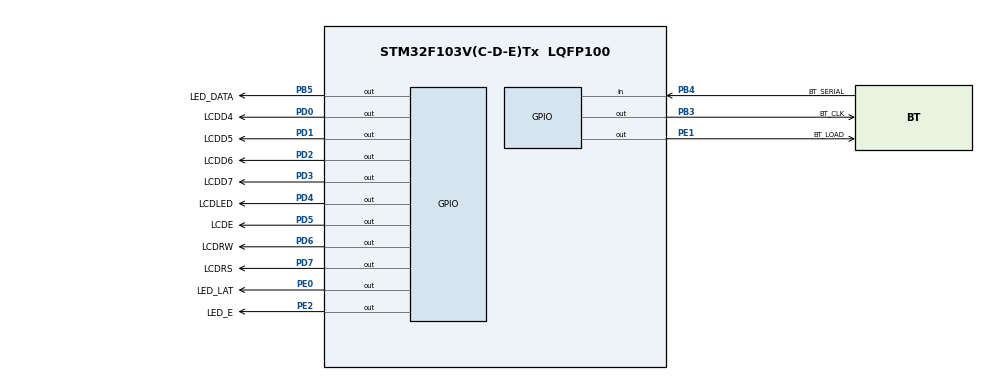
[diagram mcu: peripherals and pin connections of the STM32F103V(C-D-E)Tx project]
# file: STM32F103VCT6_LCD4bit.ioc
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Mcu.Family=STM32F1
Mcu.Name=STM32F103V(C-D-E)Tx
Mcu.Package=LQFP100
NVIC.PriorityGroup=NVIC_PRIORITYGROUP_4
PA13.Mode=Serial_Wire
PA13.Signal=SYS_JTMS-SWDIO
PA14.Mode=Serial_Wire
PA14.Signal=SYS_JTCK-SWCLK
PB3.GPIO_Label=BT_CLK
PB3.Signal=GPIO_Output
PB4.GPIO_Label=BT_SERIAL
PB4.Signal=GPIO_Input
PB5.GPIO_Label=LED_DATA
PB5.Signal=GPIO_Output
PD0.GPIO_Label=LCDD4
PD0.Signal=GPIO_Output
PD1.GPIO_Label=LCDD5
PD1.Signal=GPIO_Output
PD2.GPIO_Label=LCDD6
PD2.Signal=GPIO_Output
PD3.GPIO_Label=LCDD7
PD3.Signal=GPIO_Output
PD4.GPIO_Label=LCDLED
PD4.Signal=GPIO_Output
PD5.GPIO_Label=LCDE
PD5.Signal=GPIO_Output
PD6.GPIO_Label=LCDRW
PD6.Signal=GPIO_Output
PD7.GPIO_Label=LCDRS
PD7.Signal=GPIO_Output
PE0.GPIO_Label=LED_LAT
PE0.Signal=GPIO_Output
PE1.GPIO_Label=BT_LOAD
PE1.Signal=GPIO_Output
PE2.GPIO_Label=LED_E
PE2.Signal=GPIO_Output
ProjectManager.HeapSize=0x200
ProjectManager.StackSize=0x400
ProjectManager.TargetToolchain=MDK-ARM V5.32
RCC.APB1Freq_Value=8000000
RCC.APB2Freq_Value=8000000
board=custom

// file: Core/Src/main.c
/* USER CODE BEGIN Header */
/**
  ******************************************************************************
  * @file           : main.c
  * @brief          : Main program body
  ******************************************************************************
  * @attention
  *
  * Copyright (c) 2023 STMicroelectronics.
  * All rights reserved.
  *
  * This software is licensed under terms that can be found in the LICENSE file
  * in the root directory of this software component.
  * If no LICENSE file comes with this software, it is provided AS-IS.
  *
  ******************************************************************************
  */
#define LCD_DISPLAY_BLINK   0x0F
/* USER CODE END Header */
#include "main.h"

/* USER CODE BEGIN Includes */
#include "lcd.h"
/* USER CODE END Includes */

void SystemClock_Config(void);
static void MX_GPIO_Init(void);

/* USER CODE BEGIN 0 */
void LED_Clk(uint8_t n) {
	while(n>0) {
		HAL_GPIO_WritePin(BT_CLK_GPIO_Port,BT_CLK_Pin,GPIO_PIN_SET);
		HAL_GPIO_WritePin(BT_CLK_GPIO_Port,BT_CLK_Pin,GPIO_PIN_RESET);
		n = n-1;
	}
}
/* USER CODE END 0 */

int main(void)
{

  /* MCU Configuration--------------------------------------------------------*/

  /* Reset of all peripherals, Initializes the Flash interface and the Systick. */
  HAL_Init();

  /* Configure the system clock */
  SystemClock_Config();

  /* Initialize all configured peripherals */
  MX_GPIO_Init();
  /* USER CODE BEGIN 2 */

	LCD_init();
// Display on/off control D=1 C=1 B=1
//  0 0 0 0 1 D=1 C=1 B=1
	LCD_cmd(LCD_DISPLAY_BLINK);

	HAL_GPIO_WritePin(LCDLED_GPIO_Port,LCDLED_Pin,GPIO_PIN_SET);

	HAL_GPIO_WritePin(BT_LOAD_GPIO_Port,BT_LOAD_Pin,GPIO_PIN_SET);
	HAL_GPIO_WritePin(BT_CLK_GPIO_Port,BT_CLK_Pin,GPIO_PIN_SET);
	HAL_GPIO_WritePin(LED_E_GPIO_Port,LED_E_Pin,GPIO_PIN_RESET);
  uint8_t BT_Data=0;
  /* USER CODE END 2 */

  /* Infinite loop */
  /* USER CODE BEGIN WHILE */
	HAL_GPIO_WritePin(LED_LAT_GPIO_Port,LED_LAT_Pin,GPIO_PIN_RESET);
	HAL_GPIO_WritePin(BT_CLK_GPIO_Port,BT_CLK_Pin,GPIO_PIN_RESET);
		//LCD_cmd(0x80);
		//LCD_print((uint8_t *)"Hello world");
		//     C G B DP D E A F
		// 0 = 1 0 1 0  1 1 1 1
		// 1 = 1 0 1 0  0 0 0 0
		// 2 = 0 1 1 0  1 1 1 0
		const uint8_t LEDCODE[]={0xAF, 0xA0, 0x6E, 0xEA, 0xE1, 0xCB, 0xCF, 0xA2, 0xEF, 0xEB };
uint8_t donvi=0;
uint8_t chuc =9;

		HAL_GPIO_WritePin(LED_DATA_GPIO_Port,LED_DATA_Pin,GPIO_PIN_SET);
			LED_Clk(1);
			HAL_GPIO_WritePin(LED_DATA_GPIO_Port,LED_DATA_Pin,GPIO_PIN_RESET);
			LED_Clk(7);
			//donvi=j%10;
			for (uint8_t i=0;i<8;i++) {
				HAL_GPIO_WritePin(LED_DATA_GPIO_Port,LED_DATA_Pin,(LEDCODE[8]&(0x80>>i)));
				HAL_GPIO_WritePin(BT_CLK_GPIO_Port,BT_CLK_Pin,GPIO_PIN_SET);
				HAL_GPIO_WritePin(BT_CLK_GPIO_Port,BT_CLK_Pin,GPIO_PIN_RESET);
			}
			HAL_GPIO_WritePin(LED_LAT_GPIO_Port,LED_LAT_Pin,GPIO_PIN_SET);
			HAL_GPIO_WritePin(LED_LAT_GPIO_Port,LED_LAT_Pin,GPIO_PIN_RESET);
		/*
while(1) {
for (uint8_t j=0;j<100;j++) {
		for (uint32_t k=0;k<200;k++) {
			HAL_GPIO_WritePin(LED_DATA_GPIO_Port,LED_DATA_Pin,GPIO_PIN_SET);
			LED_Clk(1);
			HAL_GPIO_WritePin(LED_DATA_GPIO_Port,LED_DATA_Pin,GPIO_PIN_RESET);
			LED_Clk(7);
			donvi=j%10;
			for (uint8_t i=0;i<8;i++) {
				HAL_GPIO_WritePin(LED_DATA_GPIO_Port,LED_DATA_Pin,(LEDCODE[donvi]&(0x80>>i)));
				HAL_GPIO_WritePin(BT_CLK_GPIO_Port,BT_CLK_Pin,GPIO_PIN_SET);
				HAL_GPIO_WritePin(BT_CLK_GPIO_Port,BT_CLK_Pin,GPIO_PIN_RESET);
			}
			HAL_GPIO_WritePin(LED_LAT_GPIO_Port,LED_LAT_Pin,GPIO_PIN_SET);
			HAL_GPIO_WritePin(LED_LAT_GPIO_Port,LED_LAT_Pin,GPIO_PIN_RESET);
			HAL_Delay(1);

			HAL_GPIO_WritePin(LED_DATA_GPIO_Port,LED_DATA_Pin,GPIO_PIN_RESET);
			LED_Clk(1);
			HAL_GPIO_WritePin(LED_DATA_GPIO_Port,LED_DATA_Pin,GPIO_PIN_SET);
			LED_Clk(1);
			HAL_GPIO_WritePin(LED_DATA_GPIO_Port,LED_DATA_Pin,GPIO_PIN_RESET);
			LED_Clk(6);
			chuc=j/10;
			for (uint8_t i=0;i<8;i++) {
				HAL_GPIO_WritePin(LED_DATA_GPIO_Port,LED_DATA_Pin,(LEDCODE[chuc]&(0x80>>i)));
				HAL_GPIO_WritePin(BT_CLK_GPIO_Port,BT_CLK_Pin,GPIO_PIN_SET);
				HAL_GPIO_WritePin(BT_CLK_GPIO_Port,BT_CLK_Pin,GPIO_PIN_RESET);
			}
			HAL_GPIO_WritePin(LED_LAT_GPIO_Port,LED_LAT_Pin,GPIO_PIN_SET);
			HAL_GPIO_WritePin(LED_LAT_GPIO_Port,LED_LAT_Pin,GPIO_PIN_RESET);
			HAL_Delay(1);
		}

} */

  while (1)
  {
    /* USER CODE END WHILE */

    /* USER CODE BEGIN 3 */

/*
		LCD_cmd(0x80);
		HAL_GPIO_WritePin(BT_LOAD_GPIO_Port,BT_LOAD_Pin,GPIO_PIN_RESET);
		HAL_GPIO_WritePin(BT_LOAD_GPIO_Port,BT_LOAD_Pin,GPIO_PIN_SET);
		BT_Data = 0;
		for (uint8_t i=0;i<8;i++) {
				HAL_GPIO_WritePin(BT_CLK_GPIO_Port,BT_CLK_Pin,GPIO_PIN_RESET);
				BT_Data = BT_Data|HAL_GPIO_ReadPin(BT_SERIAL_GPIO_Port,BT_SERIAL_Pin);
				HAL_GPIO_WritePin(BT_CLK_GPIO_Port,BT_CLK_Pin,GPIO_PIN_SET);
				if (i<7) BT_Data = BT_Data<<1;
		}
		for (uint8_t i = 0; i<8;i++) {
				if (BT_Data&(0x80>>i))
					LCD_put('1');
				else
					LCD_put('0');
		}
		HAL_Delay(500);
		*/

  }
  /* USER CODE END 3 */
}

void SystemClock_Config(void)
{
  RCC_OscInitTypeDef RCC_OscInitStruct = {0};
  RCC_ClkInitTypeDef RCC_ClkInitStruct = {0};

  /** Initializes the RCC Oscillators according to the specified parameters
  * in the RCC_OscInitTypeDef structure.
  */
  RCC_OscInitStruct.OscillatorType = RCC_OSCILLATORTYPE_HSI;
  RCC_OscInitStruct.HSIState = RCC_HSI_ON;
  RCC_OscInitStruct.HSICalibrationValue = RCC_HSICALIBRATION_DEFAULT;
  RCC_OscInitStruct.PLL.PLLState = RCC_PLL_NONE;
  if (HAL_RCC_OscConfig(&RCC_OscInitStruct) != HAL_OK)
  {
    Error_Handler();
  }

  /** Initializes the CPU, AHB and APB buses clocks
  */
  RCC_ClkInitStruct.ClockType = RCC_CLOCKTYPE_HCLK|RCC_CLOCKTYPE_SYSCLK
                              |RCC_CLOCKTYPE_PCLK1|RCC_CLOCKTYPE_PCLK2;
  RCC_ClkInitStruct.SYSCLKSource = RCC_SYSCLKSOURCE_HSI;
  RCC_ClkInitStruct.AHBCLKDivider = RCC_SYSCLK_DIV1;
  RCC_ClkInitStruct.APB1CLKDivider = RCC_HCLK_DIV1;
  RCC_ClkInitStruct.APB2CLKDivider = RCC_HCLK_DIV1;

  if (HAL_RCC_ClockConfig(&RCC_ClkInitStruct, FLASH_LATENCY_0) != HAL_OK)
  {
    Error_Handler();
  }
}

static void MX_GPIO_Init(void)
{
  GPIO_InitTypeDef GPIO_InitStruct = {0};

  /* GPIO Ports Clock Enable */
  __HAL_RCC_GPIOE_CLK_ENABLE();
  __HAL_RCC_GPIOC_CLK_ENABLE();
  __HAL_RCC_GPIOA_CLK_ENABLE();
  __HAL_RCC_GPIOB_CLK_ENABLE();
  __HAL_RCC_GPIOD_CLK_ENABLE();

  /*Configure GPIO pin Output Level */
  HAL_GPIO_WritePin(GPIOE, LED_E_Pin|LED_LAT_Pin|BT_LOAD_Pin, GPIO_PIN_RESET);

  /*Configure GPIO pin Output Level */
  HAL_GPIO_WritePin(GPIOD, LCDD4_Pin|LCDD5_Pin|LCDD6_Pin|LCDD7_Pin
                          |LCDLED_Pin|LCDE_Pin|LCDRW_Pin|LCDRS_Pin, GPIO_PIN_RESET);

  /*Configure GPIO pin Output Level */
  HAL_GPIO_WritePin(GPIOB, BT_CLK_Pin|LED_DATA_Pin, GPIO_PIN_RESET);

  /*Configure GPIO pins : LED_E_Pin LED_LAT_Pin BT_LOAD_Pin */
  GPIO_InitStruct.Pin = LED_E_Pin|LED_LAT_Pin|BT_LOAD_Pin;
  GPIO_InitStruct.Mode = GPIO_MODE_OUTPUT_PP;
  GPIO_InitStruct.Pull = GPIO_NOPULL;
  GPIO_InitStruct.Speed = GPIO_SPEED_FREQ_LOW;
  HAL_GPIO_Init(GPIOE, &GPIO_InitStruct);

  /*Configure GPIO pins : PE3 PE4 PE5 PE6
                           PE7 PE8 PE9 PE10
                           PE11 PE12 PE13 PE14
                           PE15 */
  GPIO_InitStruct.Pin = GPIO_PIN_3|GPIO_PIN_4|GPIO_PIN_5|GPIO_PIN_6
                          |GPIO_PIN_7|GPIO_PIN_8|GPIO_PIN_9|GPIO_PIN_10
                          |GPIO_PIN_11|GPIO_PIN_12|GPIO_PIN_13|GPIO_PIN_14
                          |GPIO_PIN_15;
  GPIO_InitStruct.Mode = GPIO_MODE_ANALOG;
  HAL_GPIO_Init(GPIOE, &GPIO_InitStruct);

  /*Configure GPIO pins : PC13 PC14 PC15 PC0
                           PC1 PC2 PC3 PC4
                           PC5 PC6 PC7 PC8
                           PC9 PC10 PC11 PC12 */
  GPIO_InitStruct.Pin = GPIO_PIN_13|GPIO_PIN_14|GPIO_PIN_15|GPIO_PIN_0
                          |GPIO_PIN_1|GPIO_PIN_2|GPIO_PIN_3|GPIO_PIN_4
                          |GPIO_PIN_5|GPIO_PIN_6|GPIO_PIN_7|GPIO_PIN_8
                          |GPIO_PIN_9|GPIO_PIN_10|GPIO_PIN_11|GPIO_PIN_12;
  GPIO_InitStruct.Mode = GPIO_MODE_ANALOG;
  HAL_GPIO_Init(GPIOC, &GPIO_InitStruct);

  /*Configure GPIO pins : PA0 PA1 PA2 PA3
                           PA4 PA5 PA6 PA7
                           PA8 PA9 PA10 PA11
                           PA12 PA15 */
  GPIO_InitStruct.Pin = GPIO_PIN_0|GPIO_PIN_1|GPIO_PIN_2|GPIO_PIN_3
                          |GPIO_PIN_4|GPIO_PIN_5|GPIO_PIN_6|GPIO_PIN_7
                          |GPIO_PIN_8|GPIO_PIN_9|GPIO_PIN_10|GPIO_PIN_11
                          |GPIO_PIN_12|GPIO_PIN_15;
  GPIO_InitStruct.Mode = GPIO_MODE_ANALOG;
  HAL_GPIO_Init(GPIOA, &GPIO_InitStruct);

  /*Configure GPIO pins : PB0 PB1 PB2 PB10
                           PB11 PB12 PB13 PB14
                           PB15 PB6 PB7 PB8
                           PB9 */
  GPIO_InitStruct.Pin = GPIO_PIN_0|GPIO_PIN_1|GPIO_PIN_2|GPIO_PIN_10
                          |GPIO_PIN_11|GPIO_PIN_12|GPIO_PIN_13|GPIO_PIN_14
                          |GPIO_PIN_15|GPIO_PIN_6|GPIO_PIN_7|GPIO_PIN_8
                          |GPIO_PIN_9;
  GPIO_InitStruct.Mode = GPIO_MODE_ANALOG;
  HAL_GPIO_Init(GPIOB, &GPIO_InitStruct);

  /*Configure GPIO pins : PD8 PD9 PD10 PD11
                           PD12 PD13 PD14 PD15 */
  GPIO_InitStruct.Pin = GPIO_PIN_8|GPIO_PIN_9|GPIO_PIN_10|GPIO_PIN_11
                          |GPIO_PIN_12|GPIO_PIN_13|GPIO_PIN_14|GPIO_PIN_15;
  GPIO_InitStruct.Mode = GPIO_MODE_ANALOG;
  HAL_GPIO_Init(GPIOD, &GPIO_InitStruct);

  /*Configure GPIO pins : LCDD4_Pin LCDD5_Pin LCDD6_Pin LCDD7_Pin
                           LCDLED_Pin LCDE_Pin LCDRW_Pin LCDRS_Pin */
  GPIO_InitStruct.Pin = LCDD4_Pin|LCDD5_Pin|LCDD6_Pin|LCDD7_Pin
                          |LCDLED_Pin|LCDE_Pin|LCDRW_Pin|LCDRS_Pin;
  GPIO_InitStruct.Mode = GPIO_MODE_OUTPUT_PP;
  GPIO_InitStruct.Pull = GPIO_NOPULL;
  GPIO_InitStruct.Speed = GPIO_SPEED_FREQ_LOW;
  HAL_GPIO_Init(GPIOD, &GPIO_InitStruct);

  /*Configure GPIO pins : BT_CLK_Pin LED_DATA_Pin */
  GPIO_InitStruct.Pin = BT_CLK_Pin|LED_DATA_Pin;
  GPIO_InitStruct.Mode = GPIO_MODE_OUTPUT_PP;
  GPIO_InitStruct.Pull = GPIO_NOPULL;
  GPIO_InitStruct.Speed = GPIO_SPEED_FREQ_LOW;
  HAL_GPIO_Init(GPIOB, &GPIO_InitStruct);

  /*Configure GPIO pin : BT_SERIAL_Pin */
  GPIO_InitStruct.Pin = BT_SERIAL_Pin;
  GPIO_InitStruct.Mode = GPIO_MODE_INPUT;
  GPIO_InitStruct.Pull = GPIO_NOPULL;
  HAL_GPIO_Init(BT_SERIAL_GPIO_Port, &GPIO_InitStruct);

}

void Error_Handler(void)
{
  __disable_irq();
  while (1)
  {
  }
}
